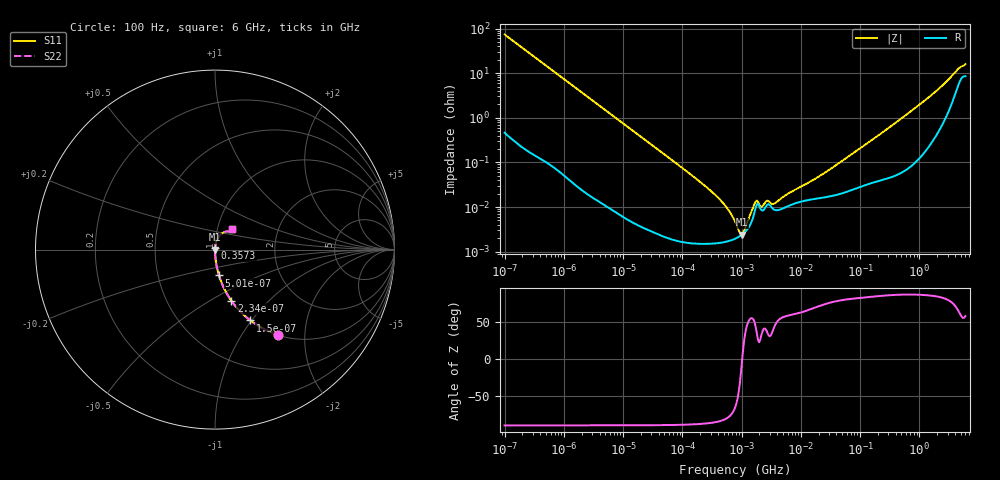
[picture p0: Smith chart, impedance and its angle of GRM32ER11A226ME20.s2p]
!Murata Part Number: GRM32ER11A226ME20
!These Parameters are Measured in Series Mode Connection
!Data Generated on Mar 30, 2021
!  o--ll--o
!Port1  Port2
!  o------o
!Operation Temp=25[degC], DC Bias Voltage=0[V]
!Freq. Start=100[Hz] Stop=6[GHz] 401[Steps]
# Hz S RI R 50
!Freq.(Hz) S11(Real) S11(Imag) S21(Real) S21(Imag) S12(Real) S12(Imag) S22(Real) S22(Imag)
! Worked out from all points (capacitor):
!   401 points, 100 Hz to 6 GHz, reference 50 ohm
!   read as one part in series: C = 21.6 uF near 109 Hz
!   lowest |Z| = 2.4 mohm at 1.013 MHz (marker M1)
!   series resonance near 1.024 MHz, so ESL is about 1.1 nH
!   S11 on the Smith chart (normalised r, x): 100 Hz: 1.01, -1.47; 150 Hz: 1.01, -0.99; 234 Hz: 1.00, -0.63; 501 Hz: 1.00, -0.30; 357.3 MHz: 1.00, +0.01; 6 GHz: 1.17, +0.27
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100  0.3523 -0.4746  0.6477 0.4746  0.6477 0.4746  0.3523 -0.4746
150  0.1967 -0.3946  0.8033 0.3946  0.8033 0.3946  0.1967 -0.3946
234  0.0918 -0.2858  0.9082 0.2858  0.9082 0.2858  0.0918 -0.2858
501  0.0223 -0.1442  0.9777 0.1442  0.9777 0.1442  0.0223 -0.1442
2008  0.00161 -0.037  0.9984 0.037  0.9984 0.037  0.00161 -0.037
40335  2.74e-05 -0.00187  1 0.00187  1 0.00187  2.74e-05 -0.00187
231233  1.5e-05 -0.000311  1 0.000311  1 0.000311  1.5e-05 -0.000311
541393  1.66e-05 -0.000102  1 0.000102  1 0.000102  1.66e-05 -0.000102
774597  1.94e-05 -4.33e-05  1 4.33e-05  1 4.33e-05  1.94e-05 -4.33e-05
1013323  2.39e-05 -1.7e-06  1 1.7e-06  1 1.7e-06  2.39e-05 -1.7e-06
1449809  4.42e-05 6.26e-05  1 -6.26e-05  1 -6.26e-05  4.42e-05 6.26e-05
1813585  0.000116 7.71e-05  0.9999 -7.71e-05  0.9999 -7.71e-05  0.000116 7.71e-05
2169299  8.47e-05 5.41e-05  0.9999 -5.41e-05  0.9999 -5.41e-05  8.47e-05 5.41e-05
2713602  0.000112 8.08e-05  0.9999 -8.08e-05  0.9999 -8.08e-05  0.000112 8.08e-05
3549919  8.72e-05 8.07e-05  0.9999 -8.07e-05  0.9999 -8.07e-05  8.72e-05 8.07e-05
6353432  0.000107 0.000176  0.9999 -0.000176  0.9999 -0.000176  0.000107 0.000176
1.555665e7  0.000149 0.000363  0.9999 -0.000363  0.9999 -0.000363  0.000149 0.000363
3.124326e8  0.000487 0.00606  0.9995 -0.00606  0.9995 -0.00606  0.000487 0.00606
3.573489e8  0.000527 0.00692  0.9995 -0.00692  0.9995 -0.00692  0.000527 0.00692
2.679998e9  0.0121 0.0572  0.9879 -0.0572  0.9879 -0.0572  0.0121 0.0572
4.385646e9  0.0548 0.099  0.9452 -0.099  0.9452 -0.099  0.0548 0.099
6e9  0.0926 0.1125  0.9074 -0.1125  0.9074 -0.1125  0.0926 0.1125
